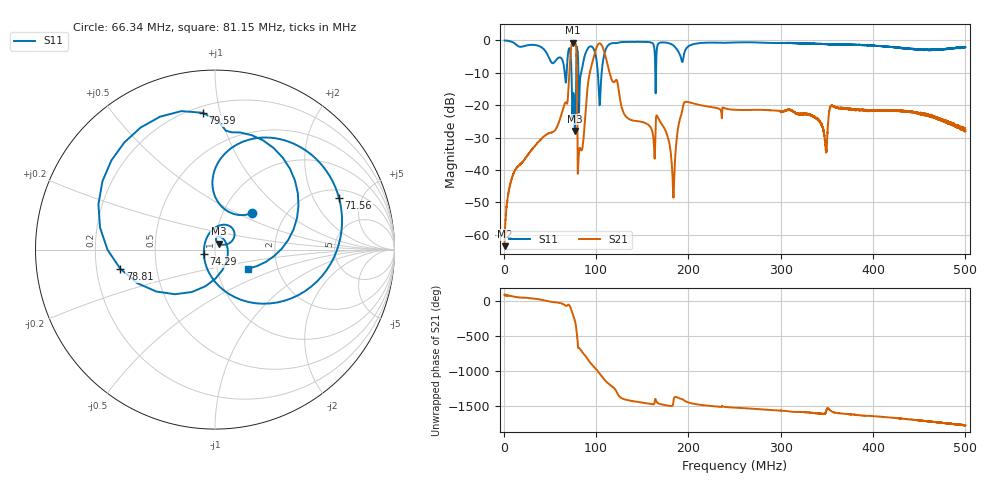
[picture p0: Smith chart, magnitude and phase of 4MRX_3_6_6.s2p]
! NanoVNA-App
! Date: 2026-08-19 14:48:18
! Start: 1MHz Stop: 500MHz Points: 6401
! S-Parameter data: F S11 S21 S12 S22
# Hz S RI R 50
!  Frequency  S11_Real  S11_Imag  S21_Real  S21_Imag  S12_Real  S12_Imag  S22_Real  S22_Imag
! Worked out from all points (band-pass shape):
!   6401 points, 1 MHz to 500 MHz, reference 50 ohm
!   highest |S21| = -0.69 dB at 74.68 MHz (marker M1); lowest = -63.6 dB at 1 MHz (marker M2)
!   |S21| within 3 dB of the highest: 72.58 MHz to 78.72 MHz (6.138 MHz wide, 8.11 % of centre); 98.9 MHz to 109.2 MHz (10.26 MHz wide, 9.87 % of centre)
!   lowest |S11| = -28.0 dB at 77.02 MHz (marker M3), VSWR 1.08, Z = 52.2 + j3.43 ohm
!   |S11| at or under -10 dB: 73.43 MHz to 78.56 MHz (5.125 MHz wide, 6.74 % of centre); 80.95 MHz to 83.92 MHz (2.978 MHz wide, 3.61 % of centre); 101.9 MHz to 106.1 MHz (4.168 MHz wide, 4.01 % of centre)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
!   S12 and S22 are empty: the file has one direction only
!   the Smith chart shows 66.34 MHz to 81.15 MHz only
!   S11 on the Smith chart (normalised r, x): 66.34 MHz: 1.37, +0.61; 71.56 MHz: 2.48, +3.23; 74.29 MHz: 0.88, -0.04; 78.81 MHz: 0.30, -0.09; 79.59 MHz: 0.24, +0.89; 81.15 MHz: 1.41, -0.31
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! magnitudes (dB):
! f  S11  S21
! 1 MHz  0.0  -63.6
! 11.45 MHz  -0.8  -40.5
! 66.34 MHz  -10.7  -19.4
! 71.56 MHz  -2.5  -7.9
! 74.29 MHz  -23.5  -0.7
! 74.68 MHz  -21.1  -0.7
! 77.02 MHz  -28.0  -0.8
! 78.81 MHz  -5.4  -4.6
! 79.59 MHz  -2.3  -16.8
! 81.15 MHz  -13.4  -36.2
! 84.19 MHz  -9.7  -34.0
! 95.34 MHz  -1.9  -7.5
! 103.5 MHz  -18.2  -0.9
! 132.3 MHz  -0.5  -23.5
! 167.4 MHz  -1.0  -24.1
! 183.5 MHz  -1.5  -47.1
! 196.6 MHz  -3.0  -19.0
! 250.5 MHz  -0.6  -21.4
! 333.7 MHz  -1.0  -23.3
! 348.4 MHz  -1.1  -32.2
! 416.9 MHz  -2.0  -21.6
! 500 MHz  -2.1  -28.0
